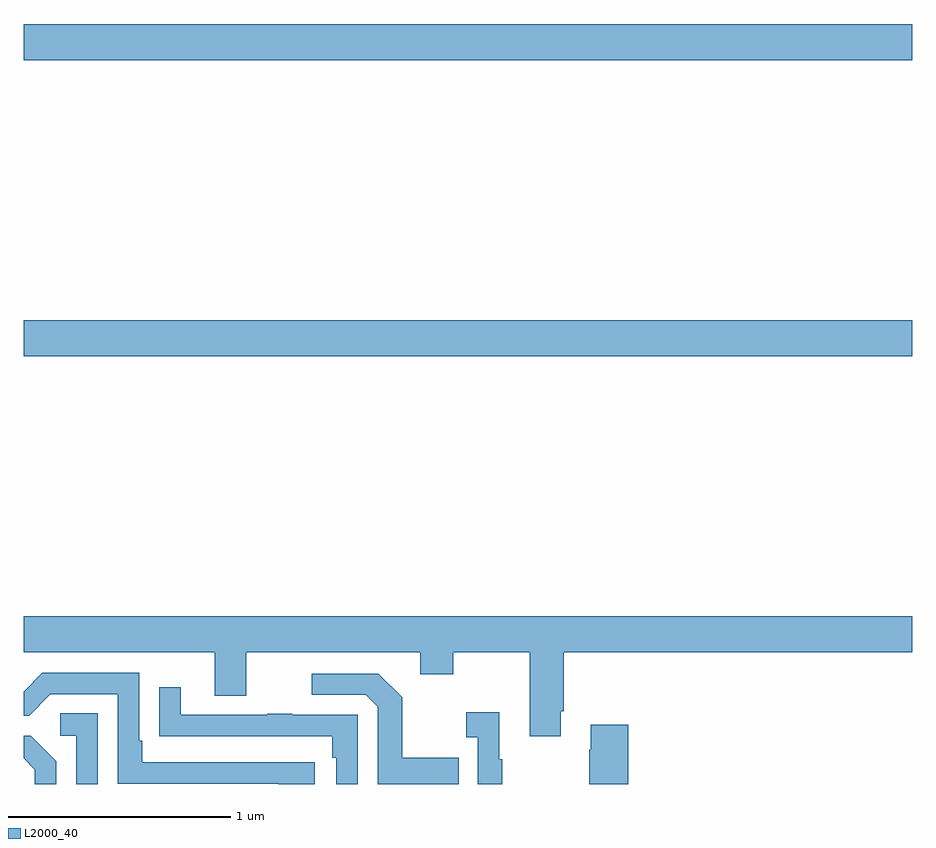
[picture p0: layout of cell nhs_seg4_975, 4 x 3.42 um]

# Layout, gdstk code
import gdstk
lib = gdstk.Library(unit=1e-6, precision=1e-09)
def R(c, l, rs):  # rectangles x0, y0, x1, y1
    for r in rs: c.add(gdstk.rectangle(r[:2], r[2:], *l))
def P(c, l, *ps):  # polygons
    for p in ps: c.add(gdstk.Polygon(p, *l))
L2000_40 = (2000, 40)

nhs_seg4_975 = lib.new_cell('nhs_seg4_975')
R(nhs_seg4_975, L2000_40, [(161,792.824,165,792.988), (161,794.156,165,794.32)])
P(nhs_seg4_975, L2000_40, [(163.417,791.227),(163.43,791.227),(163.43,791.492),(165,791.492),(165,791.656),(161,791.656),(161,791.492),(161.861,791.492),(161.861,791.298),(162.001,791.298),(162.001,791.492),(162.785,791.492),(162.785,791.393),(162.933,791.393),(162.933,791.492),(163.277,791.492),(163.277,791.115),(163.417,791.115)],
  [(162.31,790.998),(161.533,790.998),(161.533,791.095),(161.52,791.095),(161.52,791.4),(161.085,791.4),(161,791.315),(161,791.208),(161.025,791.208),(161.121,791.304),(161.424,791.304),(161.424,790.902),(162.149,790.902),(162.149,790.9),(162.31,790.9)],
  [(162.959,791.019),(162.703,791.019),(162.703,791.291),(162.597,791.397),(162.297,791.397),(162.297,791.301),(162.54,791.301),(162.594,791.247),(162.594,790.9),(162.959,790.9)],
  [(162.504,791.211),(162.209,791.211),(162.209,791.216),(162.097,791.216),(162.097,791.211),(161.707,791.211),(161.707,791.335),(161.611,791.335),(161.611,791.116),(161.713,791.116),(161.713,791.115),(162.388,791.115),(162.388,791.018),(162.408,791.018),(162.408,790.9),(162.504,790.9)],
  [(163.153,791.011),(163.141,791.011),(163.141,791.224),(162.993,791.224),(162.993,791.111),(163.044,791.111),(163.044,790.9),(163.153,790.9)],
  [(161.334,791.219),(161.166,791.219),(161.166,791.118),(161.238,791.118),(161.238,790.9),(161.334,790.9)],
  [(163.721,791.167),(163.553,791.167),(163.553,791.054),(163.546,791.054),(163.546,790.9),(163.721,790.9)],
  [(161.148,791.002),(161.032,791.118),(161,791.118),(161,791.016),(161.051,790.965),(161.051,790.9),(161.148,790.9)])

lib.write_gds('nhs_seg4_975.gds')
